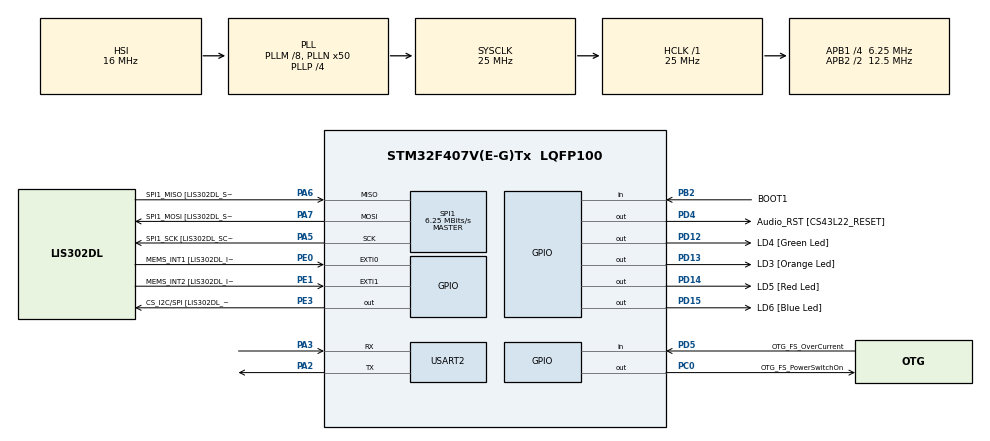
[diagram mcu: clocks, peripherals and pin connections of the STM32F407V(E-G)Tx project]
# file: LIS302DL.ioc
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Mcu.Family=STM32F4
Mcu.Name=STM32F407V(E-G)Tx
Mcu.Package=LQFP100
NVIC.PriorityGroup=NVIC_PRIORITYGROUP_0
PA10.GPIO_Label=OTG_FS_ID
PA10.GPIO_Mode=GPIO_MODE_AF_PP
PA10.GPIO_PuPd=GPIO_NOPULL
PA10.GPIO_Speed=GPIO_SPEED_FREQ_LOW
PA10.Signal=USB_OTG_FS_ID
PA11.GPIO_Label=OTG_FS_DM
PA11.GPIO_Mode=GPIO_MODE_AF_PP
PA11.GPIO_PuPd=GPIO_NOPULL
PA11.GPIO_Speed=GPIO_SPEED_FREQ_LOW
PA11.Signal=USB_OTG_FS_DM
PA12.GPIO_Label=OTG_FS_DP
PA12.GPIO_Mode=GPIO_MODE_AF_PP
PA12.GPIO_PuPd=GPIO_NOPULL
PA12.GPIO_Speed=GPIO_SPEED_FREQ_LOW
PA12.Signal=USB_OTG_FS_DP
PA13.GPIO_Label=SWDIO
PA13.Signal=SYS_JTMS-SWDIO
PA14.GPIO_Label=SWCLK
PA14.Signal=SYS_JTCK-SWCLK
PA2.Mode=Asynchronous
PA2.Signal=USART2_TX
PA3.Mode=Asynchronous
PA3.Signal=USART2_RX
PA4.GPIO_Label=I2S3_WS [CS43L22_LRCK]
PA4.GPIO_Mode=GPIO_MODE_AF_PP
PA4.GPIO_PuPd=GPIO_NOPULL
PA4.GPIO_Speed=GPIO_SPEED_FREQ_LOW
PA4.Signal=I2S3_WS
PA5.GPIO_Label=SPI1_SCK [LIS302DL_SCL/SPC]
PA5.GPIO_Mode=GPIO_MODE_AF_PP
PA5.GPIO_PuPd=GPIO_NOPULL
PA5.GPIO_Speed=GPIO_SPEED_FREQ_LOW
PA5.Mode=Full_Duplex_Master
PA5.Signal=SPI1_SCK
PA6.GPIO_Label=SPI1_MISO [LIS302DL_SDO]
PA6.GPIO_Mode=GPIO_MODE_AF_PP
PA6.GPIO_PuPd=GPIO_NOPULL
PA6.GPIO_Speed=GPIO_SPEED_FREQ_LOW
PA6.Mode=Full_Duplex_Master
PA6.Signal=SPI1_MISO
PA7.GPIO_Label=SPI1_MOSI [LIS302DL_SDA/SDI/SDO]
PA7.GPIO_Mode=GPIO_MODE_AF_PP
PA7.GPIO_PuPd=GPIO_NOPULL
PA7.GPIO_Speed=GPIO_SPEED_FREQ_LOW
PA7.Mode=Full_Duplex_Master
PA7.Signal=SPI1_MOSI
PA9.GPIO_Label=VBUS_FS
PA9.GPIO_Mode=GPIO_MODE_INPUT
PA9.GPIO_PuPd=GPIO_NOPULL
PA9.Signal=USB_OTG_FS_VBUS
PB10.GPIO_Label=CLK_IN [MP45DT02_CLK]
PB10.GPIO_Mode=GPIO_MODE_AF_PP
PB10.GPIO_PuPd=GPIO_NOPULL
PB10.GPIO_Speed=GPIO_SPEED_FREQ_LOW
PB10.Signal=I2S2_CK
PB2.GPIO_Label=BOOT1
PB2.GPIO_Mode=GPIO_MODE_INPUT
PB2.GPIO_PuPd=GPIO_NOPULL
PB2.Signal=GPIO_Input
PB3.GPIO_Label=SWO
PB3.Signal=SYS_JTDO-SWO
PB6.GPIO_Label=Audio_SCL [CS43L22_SCL]
PB6.GPIO_Mode=GPIO_MODE_AF_OD
PB6.GPIO_PuPd=GPIO_NOPULL
PB6.GPIO_Speed=GPIO_SPEED_FREQ_LOW
PB6.Signal=I2C1_SCL
PB9.GPIO_Label=Audio_SDA [CS43L22_SDA]
PB9.GPIO_Mode=GPIO_MODE_AF_OD
PB9.GPIO_PuPd=GPIO_NOPULL
PB9.GPIO_Speed=GPIO_SPEED_FREQ_LOW
PB9.Signal=I2C1_SDA
PC0.GPIO_Label=OTG_FS_PowerSwitchOn
PC0.GPIO_PuPd=GPIO_NOPULL
PC0.GPIO_Speed=GPIO_SPEED_FREQ_LOW
PC0.PinState=GPIO_PIN_SET
PC0.Signal=GPIO_Output
PC10.GPIO_Label=I2S3_SCK [CS43L22_SCLK]
PC10.GPIO_Mode=GPIO_MODE_AF_PP
PC10.GPIO_PuPd=GPIO_NOPULL
PC10.GPIO_Speed=GPIO_SPEED_FREQ_LOW
PC10.Signal=I2S3_CK
PC12.GPIO_Label=I2S3_SD [CS43L22_SDIN]
PC12.GPIO_Mode=GPIO_MODE_AF_PP
PC12.GPIO_PuPd=GPIO_NOPULL
PC12.GPIO_Speed=GPIO_SPEED_FREQ_LOW
PC12.Signal=I2S3_SD
PC14-OSC32_IN.GPIO_Label=PC14-OSC32_IN
PC14-OSC32_IN.Signal=RCC_OSC32_IN
PC15-OSC32_OUT.GPIO_Label=PC15-OSC32_OUT
PC15-OSC32_OUT.Signal=RCC_OSC32_OUT
PC3.GPIO_Label=PDM_OUT [MP45DT02_DOUT]
PC3.GPIO_Mode=GPIO_MODE_AF_PP
PC3.GPIO_PuPd=GPIO_NOPULL
PC3.GPIO_Speed=GPIO_SPEED_FREQ_LOW
PC3.Signal=I2S2_SD
PC7.GPIO_Label=I2S3_MCK [CS43L22_MCLK]
PC7.GPIO_Mode=GPIO_MODE_AF_PP
PC7.GPIO_PuPd=GPIO_NOPULL
PC7.GPIO_Speed=GPIO_SPEED_FREQ_LOW
PC7.Signal=I2S3_MCK
PD12.GPIO_Label=LD4 [Green Led]
PD12.GPIO_PuPd=GPIO_NOPULL
PD12.GPIO_Speed=GPIO_SPEED_FREQ_LOW
PD12.Signal=GPIO_Output
PD13.GPIO_Label=LD3 [Orange Led]
PD13.GPIO_PuPd=GPIO_NOPULL
PD13.GPIO_Speed=GPIO_SPEED_FREQ_LOW
PD13.Signal=GPIO_Output
PD14.GPIO_Label=LD5 [Red Led]
PD14.GPIO_PuPd=GPIO_NOPULL
PD14.GPIO_Speed=GPIO_SPEED_FREQ_LOW
PD14.Signal=GPIO_Output
PD15.GPIO_Label=LD6 [Blue Led]
PD15.GPIO_PuPd=GPIO_NOPULL
PD15.GPIO_Speed=GPIO_SPEED_FREQ_LOW
PD15.Signal=GPIO_Output
PD4.GPIO_Label=Audio_RST [CS43L22_RESET]
PD4.GPIO_PuPd=GPIO_NOPULL
PD4.GPIO_Speed=GPIO_SPEED_FREQ_LOW
PD4.Signal=GPIO_Output
PD5.GPIO_Label=OTG_FS_OverCurrent
PD5.GPIO_Mode=GPIO_MODE_INPUT
PD5.GPIO_PuPd=GPIO_NOPULL
PD5.Signal=GPIO_Input
PE0.GPIO_Label=MEMS_INT1 [LIS302DL_INT1]
PE0.Signal=GPXTI0
PE1.GPIO_Label=MEMS_INT2 [LIS302DL_INT2]
PE1.GPIO_ModeDefaultEXTI=GPIO_MODE_EVT_RISING
PE1.GPIO_PuPd=GPIO_NOPULL
PE1.Signal=GPXTI1
PE3.GPIO_Label=CS_I2C/SPI [LIS302DL_CS_I2C/SPI]
PE3.GPIO_PuPd=GPIO_NOPULL
PE3.GPIO_Speed=GPIO_SPEED_FREQ_LOW
PE3.Signal=GPIO_Output
PH0-OSC_IN.GPIO_Label=PH0-OSC_IN
PH0-OSC_IN.Signal=RCC_OSC_IN
PH1-OSC_OUT.GPIO_Label=PH1-OSC_OUT
PH1-OSC_OUT.Signal=RCC_OSC_OUT
ProjectManager.HeapSize=0x200
ProjectManager.StackSize=0x400
ProjectManager.TargetToolchain=SW4STM32
RCC.48MHZClocksFreq_Value=14285714.285714285
RCC.AHBFreq_Value=25000000
RCC.APB1CLKDivider=RCC_HCLK_DIV4
RCC.APB1Freq_Value=6250000
RCC.APB1TimFreq_Value=12500000
RCC.APB2CLKDivider=RCC_HCLK_DIV2
RCC.APB2Freq_Value=12500000
RCC.APB2TimFreq_Value=25000000
RCC.CortexFreq_Value=25000000
RCC.HCLKFreq_Value=25000000
RCC.HSE_VALUE=8000000
RCC.HSI_VALUE=16000000
RCC.LSE_VALUE=32768
RCC.PLLM=8
RCC.PLLN=50
RCC.PLLP=RCC_PLLP_DIV4
RCC.PLLQ=7
RCC.SYSCLKFreq_VALUE=25000000
RCC.SYSCLKSource=RCC_SYSCLKSOURCE_PLLCLK
RCC.VCOOutputFreq_Value=100000000
SPI1.CalculateBaudRate=6.25 MBits/s
SPI1.Mode=SPI_MODE_MASTER
board=STM32F407G-DISC1

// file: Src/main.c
/**
  ******************************************************************************
  * File Name          : main.c
  * Description        : Main program body
  ******************************************************************************
  *
  * COPYRIGHT(c) 2016 STMicroelectronics
  *
  * Redistribution and use in source and binary forms, with or without modification,
  * are permitted provided that the following conditions are met:
  *   1. Redistributions of source code must retain the above copyright notice,
  *      this list of conditions and the following disclaimer.
  *   2. Redistributions in binary form must reproduce the above copyright notice,
  *      this list of conditions and the following disclaimer in the documentation
  *      and/or other materials provided with the distribution.
  *   3. Neither the name of STMicroelectronics nor the names of its contributors
  *      may be used to endorse or promote products derived from this software
  *      without specific prior written permission.
  *
  * THIS SOFTWARE IS PROVIDED BY THE COPYRIGHT HOLDERS AND CONTRIBUTORS "AS IS"
  * AND ANY EXPRESS OR IMPLIED WARRANTIES, INCLUDING, BUT NOT LIMITED TO, THE
  * IMPLIED WARRANTIES OF MERCHANTABILITY AND FITNESS FOR A PARTICULAR PURPOSE ARE
  * DISCLAIMED. IN NO EVENT SHALL THE COPYRIGHT HOLDER OR CONTRIBUTORS BE LIABLE
  * FOR ANY DIRECT, INDIRECT, INCIDENTAL, SPECIAL, EXEMPLARY, OR CONSEQUENTIAL
  * DAMAGES (INCLUDING, BUT NOT LIMITED TO, PROCUREMENT OF SUBSTITUTE GOODS OR
  * SERVICES; LOSS OF USE, DATA, OR PROFITS; OR BUSINESS INTERRUPTION) HOWEVER
  * CAUSED AND ON ANY THEORY OF LIABILITY, WHETHER IN CONTRACT, STRICT LIABILITY,
  * OR TORT (INCLUDING NEGLIGENCE OR OTHERWISE) ARISING IN ANY WAY OUT OF THE USE
  * OF THIS SOFTWARE, EVEN IF ADVISED OF THE POSSIBILITY OF SUCH DAMAGE.
  *
  ******************************************************************************
  */
#include "stm32f4xx_hal.h"

/* USER CODE BEGIN Includes */
#define CS GPIOE
#define NCS GPIO_PIN_3
/* USER CODE END Includes */

SPI_HandleTypeDef hspi1;

UART_HandleTypeDef huart2;

/* USER CODE BEGIN PV */
/* Private variables ---------------------------------------------------------*/

/* USER CODE END PV */

void SystemClock_Config(void);
void Error_Handler(void);
static void MX_GPIO_Init(void);
static void MX_SPI1_Init(void);
static void MX_USART2_UART_Init(void);

/* USER CODE BEGIN PFP */
/* Private function prototypes -----------------------------------------------*/
void ac_Init();
void send_uart(char* data);
void new_line();
void tab();
uint8_t get_x();
uint8_t get_y();
uint8_t get_z();
/* USER CODE END PFP */

int main(void)
{

  /* MCU Configuration----------------------------------------------------------*/

  /* Reset of all peripherals, Initializes the Flash interface and the Systick. */
  HAL_Init();

  /* Configure the system clock */
  SystemClock_Config();

  /* Initialize all configured peripherals */
  MX_GPIO_Init();
  MX_SPI1_Init();
  MX_USART2_UART_Init();

  /* USER CODE BEGIN 2 */
  ac_Init();

  /* USER CODE END 2 */

  /* Infinite loop */
  /* USER CODE BEGIN WHILE */

  uint8_t x,y,z;
  while (1)
  {
  /* USER CODE END WHILE */

  /* USER CODE BEGIN 3 */
	  x = get_x();
	  y = get_y();
	  z = get_z();

	  char send_data[30];
	  itoa(x,send_data,10);
	  send_uart("x: ");
	  send_uart(send_data);
	  tab();
	  itoa(y,send_data,10);
	  send_uart("y: ");
	  send_uart(send_data);
	  tab();
	  itoa(z,send_data,10);
	  send_uart("z: ");
	  send_uart(send_data);
	  new_line();
	  HAL_Delay(200);

  }
  /* USER CODE END 3 */

}
void ac_Init()
{
      HAL_GPIO_WritePin(CS,NCS,0);
	  uint8_t data[]={ 0x20,0x47};
	  HAL_SPI_Transmit(&hspi1,&data,2,1000);
	  HAL_GPIO_WritePin(CS,NCS,1);
}
uint8_t get_x()
{
	  uint8_t d;
	  uint8_t data[2];
	  HAL_GPIO_WritePin(CS,NCS,0);
	  data[0] = 0b10101001;
	  HAL_SPI_Transmit(&hspi1,&data[0],1,100);
	  HAL_SPI_Receive(&hspi1,&d,1,100);
	  HAL_GPIO_WritePin(CS,NCS,1);
	  return d;
}
uint8_t get_y()
{
	  uint8_t d;
	  uint8_t data[2];
	  HAL_GPIO_WritePin(CS,NCS,0);
	  data[0] = 0x2B+ 0x80;
	  HAL_SPI_Transmit(&hspi1,&data[0],1,100);
	  HAL_SPI_Receive(&hspi1,&d,1,100);
	  HAL_GPIO_WritePin(CS,NCS,1);
	  return d;
}
uint8_t get_z()
{
	  uint8_t d;
	  uint8_t data[2];
	  HAL_GPIO_WritePin(CS,NCS,0);
	  data[0] = 0x2D + 0x80;
	  HAL_SPI_Transmit(&hspi1,&data[0],1,100);
	  HAL_SPI_Receive(&hspi1,&d,1,100);
	  HAL_GPIO_WritePin(CS,NCS,1);
	  return d;
}
/** System Clock Configuration
*/
void SystemClock_Config(void)
{

  RCC_OscInitTypeDef RCC_OscInitStruct;
  RCC_ClkInitTypeDef RCC_ClkInitStruct;

  __HAL_RCC_PWR_CLK_ENABLE();

  __HAL_PWR_VOLTAGESCALING_CONFIG(PWR_REGULATOR_VOLTAGE_SCALE1);

  RCC_OscInitStruct.OscillatorType = RCC_OSCILLATORTYPE_HSI;
  RCC_OscInitStruct.HSIState = RCC_HSI_ON;
  RCC_OscInitStruct.HSICalibrationValue = 16;
  RCC_OscInitStruct.PLL.PLLState = RCC_PLL_ON;
  RCC_OscInitStruct.PLL.PLLSource = RCC_PLLSOURCE_HSI;
  RCC_OscInitStruct.PLL.PLLM = 8;
  RCC_OscInitStruct.PLL.PLLN = 50;
  RCC_OscInitStruct.PLL.PLLP = RCC_PLLP_DIV4;
  RCC_OscInitStruct.PLL.PLLQ = 7;
  if (HAL_RCC_OscConfig(&RCC_OscInitStruct) != HAL_OK)
  {
    Error_Handler();
  }

  RCC_ClkInitStruct.ClockType = RCC_CLOCKTYPE_HCLK|RCC_CLOCKTYPE_SYSCLK
                              |RCC_CLOCKTYPE_PCLK1|RCC_CLOCKTYPE_PCLK2;
  RCC_ClkInitStruct.SYSCLKSource = RCC_SYSCLKSOURCE_PLLCLK;
  RCC_ClkInitStruct.AHBCLKDivider = RCC_SYSCLK_DIV1;
  RCC_ClkInitStruct.APB1CLKDivider = RCC_HCLK_DIV4;
  RCC_ClkInitStruct.APB2CLKDivider = RCC_HCLK_DIV2;
  if (HAL_RCC_ClockConfig(&RCC_ClkInitStruct, FLASH_LATENCY_0) != HAL_OK)
  {
    Error_Handler();
  }

  HAL_SYSTICK_Config(HAL_RCC_GetHCLKFreq()/1000);

  HAL_SYSTICK_CLKSourceConfig(SYSTICK_CLKSOURCE_HCLK);

  /* SysTick_IRQn interrupt configuration */
  HAL_NVIC_SetPriority(SysTick_IRQn, 0, 0);
}

/* SPI1 init function */
static void MX_SPI1_Init(void)
{

  hspi1.Instance = SPI1;
  hspi1.Init.Mode = SPI_MODE_MASTER;
  hspi1.Init.Direction = SPI_DIRECTION_2LINES;
  hspi1.Init.DataSize = SPI_DATASIZE_8BIT;
  hspi1.Init.CLKPolarity = SPI_POLARITY_LOW;
  hspi1.Init.CLKPhase = SPI_PHASE_1EDGE;
  hspi1.Init.NSS = SPI_NSS_SOFT;
  hspi1.Init.BaudRatePrescaler = SPI_BAUDRATEPRESCALER_2;
  hspi1.Init.FirstBit = SPI_FIRSTBIT_MSB;
  hspi1.Init.TIMode = SPI_TIMODE_DISABLE;
  hspi1.Init.CRCCalculation = SPI_CRCCALCULATION_DISABLE;
  hspi1.Init.CRCPolynomial = 10;
  if (HAL_SPI_Init(&hspi1) != HAL_OK)
  {
    Error_Handler();
  }

}

/* USART2 init function */
static void MX_USART2_UART_Init(void)
{

  huart2.Instance = USART2;
  huart2.Init.BaudRate = 115200;
  huart2.Init.WordLength = UART_WORDLENGTH_8B;
  huart2.Init.StopBits = UART_STOPBITS_1;
  huart2.Init.Parity = UART_PARITY_NONE;
  huart2.Init.Mode = UART_MODE_TX_RX;
  huart2.Init.HwFlowCtl = UART_HWCONTROL_NONE;
  huart2.Init.OverSampling = UART_OVERSAMPLING_16;
  if (HAL_UART_Init(&huart2) != HAL_OK)
  {
    Error_Handler();
  }

}

/** Configure pins as
        * Analog
        * Input
        * Output
        * EVENT_OUT
        * EXTI
     PC3   ------> I2S2_SD
     PA4   ------> I2S3_WS
     PB10   ------> I2S2_CK
     PC7   ------> I2S3_MCK
     PA9   ------> USB_OTG_FS_VBUS
     PA10   ------> USB_OTG_FS_ID
     PA11   ------> USB_OTG_FS_DM
     PA12   ------> USB_OTG_FS_DP
     PC10   ------> I2S3_CK
     PC12   ------> I2S3_SD
     PB6   ------> I2C1_SCL
     PB9   ------> I2C1_SDA
*/
static void MX_GPIO_Init(void)
{

  GPIO_InitTypeDef GPIO_InitStruct;

  /* GPIO Ports Clock Enable */
  __HAL_RCC_GPIOE_CLK_ENABLE();
  __HAL_RCC_GPIOC_CLK_ENABLE();
  __HAL_RCC_GPIOH_CLK_ENABLE();
  __HAL_RCC_GPIOA_CLK_ENABLE();
  __HAL_RCC_GPIOB_CLK_ENABLE();
  __HAL_RCC_GPIOD_CLK_ENABLE();

  /*Configure GPIO pin Output Level */
  HAL_GPIO_WritePin(CS_I2C_SPI_GPIO_Port, CS_I2C_SPI_Pin, GPIO_PIN_RESET);

  /*Configure GPIO pin Output Level */
  HAL_GPIO_WritePin(OTG_FS_PowerSwitchOn_GPIO_Port, OTG_FS_PowerSwitchOn_Pin, GPIO_PIN_SET);

  /*Configure GPIO pin Output Level */
  HAL_GPIO_WritePin(GPIOD, LD4_Pin|LD3_Pin|LD5_Pin|LD6_Pin
                          |Audio_RST_Pin, GPIO_PIN_RESET);

  /*Configure GPIO pin : CS_I2C_SPI_Pin */
  GPIO_InitStruct.Pin = CS_I2C_SPI_Pin;
  GPIO_InitStruct.Mode = GPIO_MODE_OUTPUT_PP;
  GPIO_InitStruct.Pull = GPIO_NOPULL;
  GPIO_InitStruct.Speed = GPIO_SPEED_FREQ_LOW;
  HAL_GPIO_Init(CS_I2C_SPI_GPIO_Port, &GPIO_InitStruct);

  /*Configure GPIO pin : OTG_FS_PowerSwitchOn_Pin */
  GPIO_InitStruct.Pin = OTG_FS_PowerSwitchOn_Pin;
  GPIO_InitStruct.Mode = GPIO_MODE_OUTPUT_PP;
  GPIO_InitStruct.Pull = GPIO_NOPULL;
  GPIO_InitStruct.Speed = GPIO_SPEED_FREQ_LOW;
  HAL_GPIO_Init(OTG_FS_PowerSwitchOn_GPIO_Port, &GPIO_InitStruct);

  /*Configure GPIO pin : PDM_OUT_Pin */
  GPIO_InitStruct.Pin = PDM_OUT_Pin;
  GPIO_InitStruct.Mode = GPIO_MODE_AF_PP;
  GPIO_InitStruct.Pull = GPIO_NOPULL;
  GPIO_InitStruct.Speed = GPIO_SPEED_FREQ_LOW;
  GPIO_InitStruct.Alternate = GPIO_AF5_SPI2;
  HAL_GPIO_Init(PDM_OUT_GPIO_Port, &GPIO_InitStruct);

  /*Configure GPIO pin : PA4 */
  GPIO_InitStruct.Pin = GPIO_PIN_4;
  GPIO_InitStruct.Mode = GPIO_MODE_AF_PP;
  GPIO_InitStruct.Pull = GPIO_NOPULL;
  GPIO_InitStruct.Speed = GPIO_SPEED_FREQ_LOW;
  GPIO_InitStruct.Alternate = GPIO_AF6_SPI3;
  HAL_GPIO_Init(GPIOA, &GPIO_InitStruct);

  /*Configure GPIO pin : BOOT1_Pin */
  GPIO_InitStruct.Pin = BOOT1_Pin;
  GPIO_InitStruct.Mode = GPIO_MODE_INPUT;
  GPIO_InitStruct.Pull = GPIO_NOPULL;
  HAL_GPIO_Init(BOOT1_GPIO_Port, &GPIO_InitStruct);

  /*Configure GPIO pin : CLK_IN_Pin */
  GPIO_InitStruct.Pin = CLK_IN_Pin;
  GPIO_InitStruct.Mode = GPIO_MODE_AF_PP;
  GPIO_InitStruct.Pull = GPIO_NOPULL;
  GPIO_InitStruct.Speed = GPIO_SPEED_FREQ_LOW;
  GPIO_InitStruct.Alternate = GPIO_AF5_SPI2;
  HAL_GPIO_Init(CLK_IN_GPIO_Port, &GPIO_InitStruct);

  /*Configure GPIO pins : LD4_Pin LD3_Pin LD5_Pin LD6_Pin
                           Audio_RST_Pin */
  GPIO_InitStruct.Pin = LD4_Pin|LD3_Pin|LD5_Pin|LD6_Pin
                          |Audio_RST_Pin;
  GPIO_InitStruct.Mode = GPIO_MODE_OUTPUT_PP;
  GPIO_InitStruct.Pull = GPIO_NOPULL;
  GPIO_InitStruct.Speed = GPIO_SPEED_FREQ_LOW;
  HAL_GPIO_Init(GPIOD, &GPIO_InitStruct);

  /*Configure GPIO pins : PC7 I2S3_SCK_Pin PC12 */
  GPIO_InitStruct.Pin = GPIO_PIN_7|I2S3_SCK_Pin|GPIO_PIN_12;
  GPIO_InitStruct.Mode = GPIO_MODE_AF_PP;
  GPIO_InitStruct.Pull = GPIO_NOPULL;
  GPIO_InitStruct.Speed = GPIO_SPEED_FREQ_LOW;
  GPIO_InitStruct.Alternate = GPIO_AF6_SPI3;
  HAL_GPIO_Init(GPIOC, &GPIO_InitStruct);

  /*Configure GPIO pin : VBUS_FS_Pin */
  GPIO_InitStruct.Pin = VBUS_FS_Pin;
  GPIO_InitStruct.Mode = GPIO_MODE_INPUT;
  GPIO_InitStruct.Pull = GPIO_NOPULL;
  HAL_GPIO_Init(VBUS_FS_GPIO_Port, &GPIO_InitStruct);

  /*Configure GPIO pins : OTG_FS_ID_Pin OTG_FS_DM_Pin OTG_FS_DP_Pin */
  GPIO_InitStruct.Pin = OTG_FS_ID_Pin|OTG_FS_DM_Pin|OTG_FS_DP_Pin;
  GPIO_InitStruct.Mode = GPIO_MODE_AF_PP;
  GPIO_InitStruct.Pull = GPIO_NOPULL;
  GPIO_InitStruct.Speed = GPIO_SPEED_FREQ_LOW;
  GPIO_InitStruct.Alternate = GPIO_AF10_OTG_FS;
  HAL_GPIO_Init(GPIOA, &GPIO_InitStruct);

  /*Configure GPIO pin : OTG_FS_OverCurrent_Pin */
  GPIO_InitStruct.Pin = OTG_FS_OverCurrent_Pin;
  GPIO_InitStruct.Mode = GPIO_MODE_INPUT;
  GPIO_InitStruct.Pull = GPIO_NOPULL;
  HAL_GPIO_Init(OTG_FS_OverCurrent_GPIO_Port, &GPIO_InitStruct);

  /*Configure GPIO pins : Audio_SCL_Pin Audio_SDA_Pin */
  GPIO_InitStruct.Pin = Audio_SCL_Pin|Audio_SDA_Pin;
  GPIO_InitStruct.Mode = GPIO_MODE_AF_OD;
  GPIO_InitStruct.Pull = GPIO_PULLUP;
  GPIO_InitStruct.Speed = GPIO_SPEED_FREQ_LOW;
  GPIO_InitStruct.Alternate = GPIO_AF4_I2C1;
  HAL_GPIO_Init(GPIOB, &GPIO_InitStruct);

  /*Configure GPIO pin : MEMS_INT1_Pin */
  GPIO_InitStruct.Pin = MEMS_INT1_Pin;
  GPIO_InitStruct.Mode = GPIO_MODE_IT_RISING;
  GPIO_InitStruct.Pull = GPIO_NOPULL;
  HAL_GPIO_Init(MEMS_INT1_GPIO_Port, &GPIO_InitStruct);

  /*Configure GPIO pin : MEMS_INT2_Pin */
  GPIO_InitStruct.Pin = MEMS_INT2_Pin;
  GPIO_InitStruct.Mode = GPIO_MODE_EVT_RISING;
  GPIO_InitStruct.Pull = GPIO_NOPULL;
  HAL_GPIO_Init(MEMS_INT2_GPIO_Port, &GPIO_InitStruct);

}

/* USER CODE BEGIN 4 */
void send_uart(char* data)
{
	int i=0;
	while(data[i]!='\0')
	{
		HAL_UART_Transmit(&huart2,&data[i],1,100);
		i++;
	}
}

void new_line()
{
	HAL_UART_Transmit(&huart2,"\n\r",2,100);
}

void tab()
{
	HAL_UART_Transmit(&huart2,"\t",2,100);
}
/* USER CODE END 4 */

void Error_Handler(void)
{
  while(1)
  {
  }
}

/************************ (C) COPYRIGHT STMicroelectronics *****END OF FILE****/
